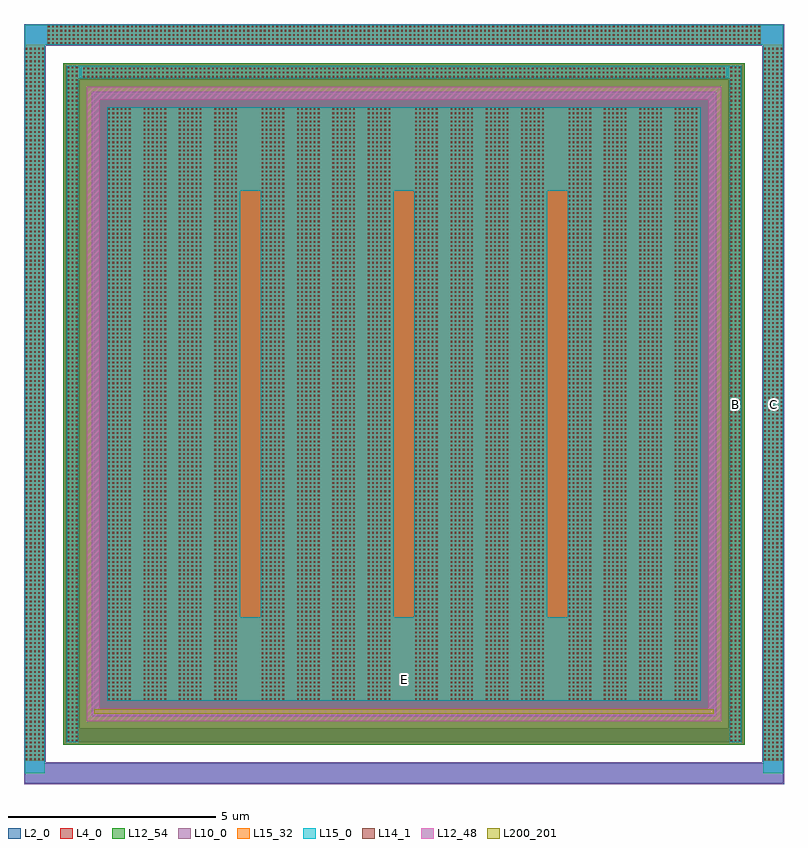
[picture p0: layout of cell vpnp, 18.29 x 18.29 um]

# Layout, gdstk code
import gdstk
lib = gdstk.Library(unit=1e-6, precision=1e-09)
def R(c, l, rs):  # rectangles x0, y0, x1, y1
    for r in rs: c.add(gdstk.rectangle(r[:2], r[2:], *l))
def A(c, l, x, y, w, h, nx, ny, dx, dy):  # array of equal rectangles
    R(c, l, [(x+i*dx, y+j*dy, x+i*dx+w, y+j*dy+h) for i in range(nx) for j in range(ny)])
L2_0 = (2, 0)
L4_0 = (4, 0)
L10_0 = (10, 0)
L12_48 = (12, 48)
L12_54 = (12, 54)
L14_1 = (14, 1)
L15_0 = (15, 0)
L15_32 = (15, 32)
L200_201 = (200, 201)

vpnp = lib.new_cell('vpnp')
R(vpnp, L2_0, [(-15.629,-7.659,2.623,-7.179), (-15.629,-7.179,-15.149,10.113), (2.143,-7.179,2.623,10.113), (-14.649,-6.679,1.643,-6.339), (-14.649,-6.339,-14.309,9.273), (1.303,-6.339,1.643,9.273), (-13.953,-5.983,0.947,8.917), (-14.649,9.273,1.643,9.613), (-15.629,10.113,2.623,10.593)])
R(vpnp, L4_0, [(-14.705,-6.735,1.699,9.669)])
R(vpnp, L10_0, [(-15.65,-7.68,2.644,-7.158), (-15.65,-7.158,-15.128,10.092), (2.122,-7.158,2.644,10.092), (-14.023,-6.053,1.017,8.987), (-15.65,10.092,2.644,10.614)])
R(vpnp, L12_48, [(-14.134,-6.164,1.128,-5.858), (-14.134,-5.858,-13.828,8.792), (0.822,-5.858,1.128,8.792), (-14.134,8.792,1.128,9.098)])
R(vpnp, L12_54, [(-14.705,-6.735,1.699,9.669)])
A(vpnp, L14_1, -15.609, -7.103, 0.04, 0.04, 5, 172, 0.1, 0.1)
A(vpnp, L14_1, 2.163, -7.103, 0.04, 0.04, 5, 172, 0.1, 0.1)
A(vpnp, L14_1, -14.599, -6.653, 0.04, 0.04, 3, 163, 0.1, 0.1)
A(vpnp, L14_1, 1.353, -6.653, 0.04, 0.04, 3, 163, 0.1, 0.1)
A(vpnp, L14_1, -13.623, -5.653, 0.04, 0.04, 6, 143, 0.1, 0.1)
A(vpnp, L14_1, -12.771, -5.653, 0.04, 0.04, 6, 143, 0.1, 0.1)
A(vpnp, L14_1, -11.919, -5.653, 0.04, 0.04, 6, 143, 0.1, 0.1)
A(vpnp, L14_1, -11.067, -5.653, 0.04, 0.04, 6, 143, 0.1, 0.1)
A(vpnp, L14_1, -9.929, -5.653, 0.04, 0.04, 6, 143, 0.1, 0.1)
A(vpnp, L14_1, -9.077, -5.653, 0.04, 0.04, 6, 143, 0.1, 0.1)
A(vpnp, L14_1, -8.225, -5.653, 0.04, 0.04, 6, 143, 0.1, 0.1)
A(vpnp, L14_1, -7.373, -5.653, 0.04, 0.04, 6, 143, 0.1, 0.1)
A(vpnp, L14_1, -6.235, -5.653, 0.04, 0.04, 6, 143, 0.1, 0.1)
A(vpnp, L14_1, -5.383, -5.653, 0.04, 0.04, 6, 143, 0.1, 0.1)
A(vpnp, L14_1, -4.531, -5.653, 0.04, 0.04, 6, 143, 0.1, 0.1)
A(vpnp, L14_1, -3.679, -5.653, 0.04, 0.04, 6, 143, 0.1, 0.1)
A(vpnp, L14_1, -2.541, -5.653, 0.04, 0.04, 6, 143, 0.1, 0.1)
A(vpnp, L14_1, -1.689, -5.653, 0.04, 0.04, 6, 143, 0.1, 0.1)
A(vpnp, L14_1, -0.837, -5.653, 0.04, 0.04, 6, 143, 0.1, 0.1)
A(vpnp, L14_1, 0.015, -5.653, 0.04, 0.04, 6, 143, 0.1, 0.1)
A(vpnp, L14_1, -14.223, 9.323, 0.04, 0.04, 155, 3, 0.1, 0.1)
A(vpnp, L14_1, -15.073, 10.133, 0.04, 0.04, 172, 5, 0.1, 0.1)
A(vpnp, L15_0, -13.641, -3.671, 3.194, 10.276, 4, 1, 3.694, 0)
R(vpnp, L15_0, [(-15.627,-7.419,-15.151,10.591), (2.145,-7.419,2.621,10.591), (-14.617,-6.671,-14.341,9.605), (1.335,-6.671,1.611,9.605), (-13.641,-5.671,0.635,-3.671), (-13.641,6.605,0.635,8.605), (-14.341,9.305,1.335,9.605), (-15.151,10.115,2.145,10.591)])
R(vpnp, L15_32, [(-15.627,-7.121,-15.151,10.115), (2.145,-7.121,2.621,10.115), (-14.617,-6.671,-14.341,9.605), (1.335,-6.671,1.611,9.605), (-13.641,-5.671,0.635,8.605), (-14.241,9.305,1.235,9.581), (-15.091,10.115,2.085,10.591)])
R(vpnp, L200_201, [(-13.953,-5.983,0.947,-5.883)])
vpnp.add(gdstk.Label('E', (-6.503,-5.171), layer=15, texttype=20))
vpnp.add(gdstk.Label('B', (1.473,1.467), layer=15, texttype=20))
vpnp.add(gdstk.Label('C', (2.383,1.467), layer=15, texttype=20))

lib.write_gds('vpnp.gds')
